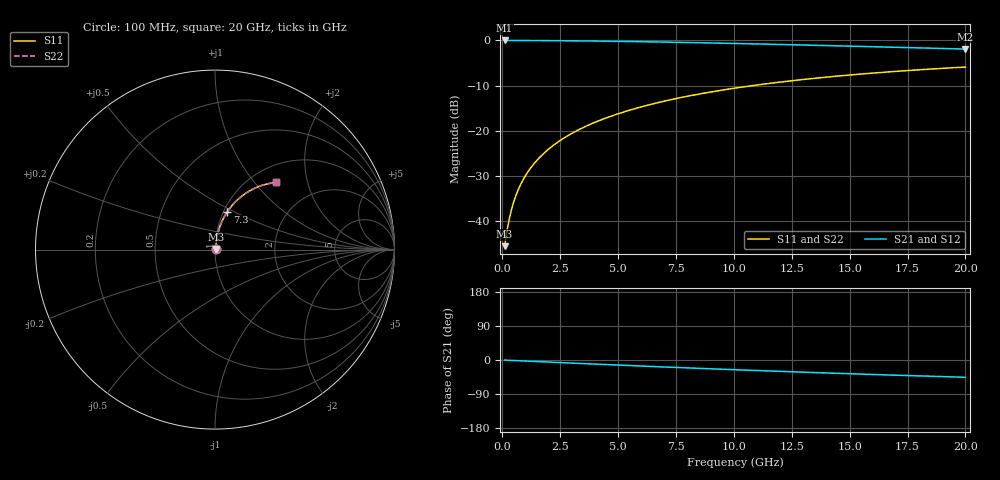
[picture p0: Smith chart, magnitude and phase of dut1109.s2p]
! Touchstone file exported from HFSS 2024.1.0
!  File:  C:/UserFiles/LocalFiles/RDL_TSV_Batchsim/temp_RDL_bottom_1109_1780054355.aedt
!  Generated:  07:35:30 PM May 29, 2026
!  Design:  RDL_bottom
!  Project:  temp_RDL_bottom_1109_1780054355
!  Setup:  Setup1
!  Solution:  Sweep
! Variables:
!  dtsv = 10.80580581um
!  hbump = 3um
!  htsv = 99.05um
!  ldown = 580.18um
!  lrdl = 100um
!  p = 40
!  p1 = 53.92um
!  rhole = 1um
!  t = 450um
!  tdown = 4.01um
!  trdl = 3.915915916um
!  wdown = 12.24um
!  wrdl = 20um
# GHz S MA R 50.000000
! Terminal data exported
! Port[1] = RDL1_T1
! Port[2] = RDL1_T2
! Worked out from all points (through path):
!   200 points, 100 MHz to 20 GHz, reference 50 ohm
!   highest |S21| = -0.04 dB at 100 MHz (marker M1); lowest = -1.9 dB at 20 GHz (marker M2)
!   group delay of S21, straight-line fit = 6.33 ps
!   lowest |S11| = -45.5 dB at 100 MHz (marker M3), VSWR 1.01, Z = 50.4 + j0.326 ohm
!   |S11| at or under -10 dB: start of sweep to 10.81 GHz
!   |S22| runs from -45.5 to -5.9 dB; largest |S21 - S12| = 3.4e-15
!   S11 on the Smith chart (normalised r, x): 100 MHz: 1.01, +0.01; 7.3 GHz: 1.04, +0.46; 20 GHz: 1.30, +1.31
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0.1  0.005337 37.3  0.9958 -0.3  0.9958 -0.3  0.005337 37.3
! Gamma 0 0 0 0
! Port Impedance 50 0 50 0
0.2  0.00777 56.1  0.9957 -0.6  0.9957 -0.6  0.00777 56.1
0.3  0.01062 65.1  0.9955 -0.8  0.9955 -0.8  0.01062 65.1
0.4  0.01362 70.1  0.9954 -1.1  0.9954 -1.1  0.01361 70.1
0.5  0.01666 73.1  0.9953 -1.4  0.9953 -1.4  0.01665 73.1
0.6  0.01972 75.2  0.9951 -1.7  0.9951 -1.7  0.01971 75.2
0.8  0.02586 77.7  0.9947 -2.2  0.9947 -2.2  0.02586 77.7
1.1  0.0351 79.6  0.9941 -3.0  0.9941 -3.0  0.0351 79.6
1.5  0.04745 80.6  0.9931 -4.1  0.9931 -4.1  0.04745 80.6
1.8  0.05673 80.9  0.9922 -4.9  0.9922 -4.9  0.05673 80.9
2.1  0.066 80.8  0.9911 -5.7  0.9911 -5.7  0.066 80.9
2.7  0.08451 80.4  0.9885 -7.4  0.9885 -7.4  0.08451 80.4
3.5  0.1091 79.3  0.9842 -9.5  0.9842 -9.5  0.1091 79.3
4.2  0.1304 78.1  0.9796 -11.3  0.9796 -11.3  0.1304 78.1
5  0.1544 76.6  0.9737 -13.4  0.9737 -13.4  0.1544 76.6
6.8  0.2073 73.0  0.9577 -18.0  0.9577 -18.0  0.2073 73.0
7.3  0.2215 72.0  0.9528 -19.2  0.9528 -19.2  0.2216 72.0
8.6  0.2578 69.3  0.9391 -22.3  0.9391 -22.3  0.2579 69.3
10.1  0.2979 66.2  0.9222 -25.8  0.9222 -25.8  0.298 66.2
13.4  0.3786 59.6  0.8821 -33.0  0.8821 -33.0  0.3787 59.6
16.7  0.4482 53.3  0.8407 -39.6  0.8407 -39.6  0.4483 53.4
20  0.5067 47.6  0.8001 -45.6  0.8001 -45.6  0.5068 47.6
